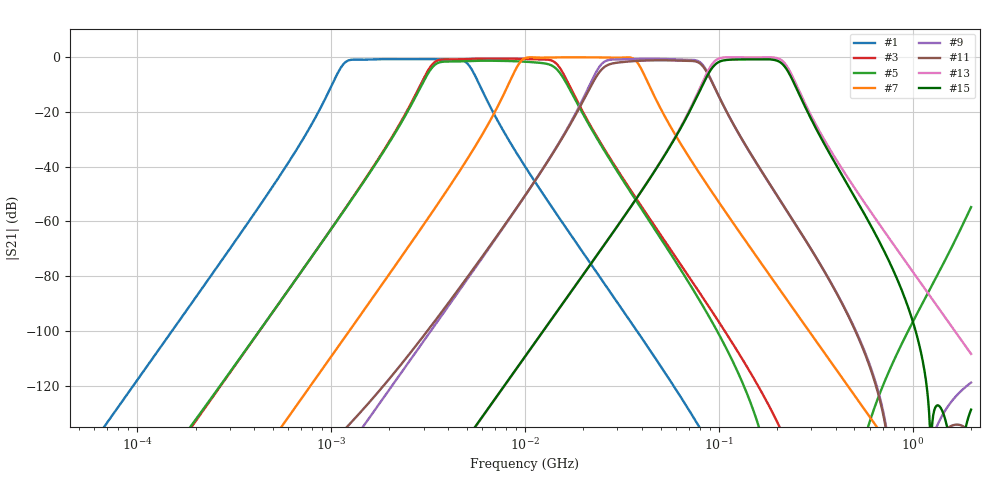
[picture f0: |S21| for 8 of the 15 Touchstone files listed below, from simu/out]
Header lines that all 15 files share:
! Created with skrf 2.2.0 (http://scikit-rf.org).
# MHz S RI R 50.0
! Port[1] = P1
! Port[2] = P2
!freq ReS11 ImS11 ReS21 ImS21 ReS12 ImS12 ReS22 ImS22
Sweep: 50 kHz to 2 GHz
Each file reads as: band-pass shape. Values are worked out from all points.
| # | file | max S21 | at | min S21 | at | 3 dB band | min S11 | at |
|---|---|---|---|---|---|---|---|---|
| 1 | F2_generic.s2p | -0.64 dB | 3.101 MHz | -198.7 dB | 298.5 MHz | 1.127 MHz-5.212 MHz | -26.7 dB | 4.614 MHz |
| 2 | F2_ideal.s2p | 0.00 dB | 4.614 MHz | -198.9 dB | 374.9 MHz | 1.121 MHz-5.267 MHz | -43.9 dB | 4.614 MHz |
| 3 | F3_generic.s2p | -0.49 dB | 7.315 MHz | -198.5 dB | 408.1 MHz | 3.252 MHz-14.96 MHz | -31.9 dB | 13.1 MHz |
| 4 | F3_ideal.s2p | 0.00 dB | 13.1 MHz | -198.9 dB | 1.093 GHz | 3.218 MHz-15.2 MHz | -36.4 dB | 13.1 MHz |
| 5 | F3_models.s2p | -1.27 dB | 6.273 MHz | -198.7 dB | 432.5 MHz | 3.287 MHz-14.49 MHz | -27.6 dB | 3.713 MHz |
| 6 | F4_generic.s2p | -0.53 dB | 17.63 MHz | -198.8 dB | 127.7 kHz | 9.334 MHz-38.21 MHz | -47.8 dB | 33.65 MHz |
| 7 | F4_ideal.s2p | -0.01 dB | 10.71 MHz | -198.9 dB | 127.7 kHz | 9.236 MHz-38.82 MHz | -28.9 dB | 10.71 MHz |
| 8 | F4_models.s2p | -2.00 dB | 19.39 MHz | -198.2 dB | 50 kHz | 9.79 MHz-38.41 MHz | -25.8 dB | 16.63 MHz |
| 9 | F5_generic.s2p | -0.57 dB | 44.32 MHz | -198.8 dB | 336.8 kHz | 24.23 MHz-83.7 MHz | -57.7 dB | 45.51 MHz |
| 10 | F5_ideal.s2p | 0.00 dB | 45.51 MHz | -198.8 dB | 336.8 kHz | 23.97 MHz-85.49 MHz | -49.3 dB | 45.51 MHz |
| 11 | F5_models.s2p | -1.10 dB | 50.33 MHz | -198.9 dB | 122.4 kHz | 25.27 MHz-84.14 MHz | -51.2 dB | 74.88 MHz |
| 12 | F6_generic.s2p | -0.82 dB | 123.9 MHz | -199.0 dB | 1.273 MHz | 92.07 MHz-217.2 MHz | -40.8 dB | 173.9 MHz |
| 13 | F6_ideal.s2p | 0.00 dB | 176.7 MHz | -199.0 dB | 1.273 MHz | 91.59 MHz-223.1 MHz | -32.1 dB | 176.7 MHz |
| 14 | F6_layout_openems.s2p | -0.85 dB | 163.2 MHz | -93.5 dB | 657.4 MHz | 91.59 MHz-214.9 MHz | -48.1 dB | 169.3 MHz |
| 15 | F6_models.s2p | -0.72 dB | 169.3 MHz | -198.9 dB | 1.233 MHz | 93.05 MHz-219.5 MHz | -41.6 dB | 175.7 MHz |
